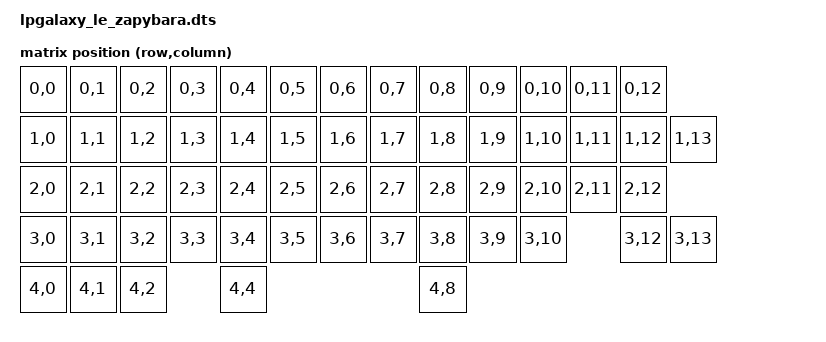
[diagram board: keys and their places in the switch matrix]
/*
 * Copyright (c) 2020 The ZMK Contributors
 *
 * SPDX-License-Identifier: MIT
 */

/dts-v1/;
#include <nordic/nrf52840_qiaa.dtsi>
#include <zephyr/dt-bindings/dt-util.h>
#include <zephyr/dt-bindings/adc/adc.h>
#include <zephyr/dt-bindings/gpio/nordic-nrf-gpio.h>
#include <dt-bindings/zmk/matrix_transform.h>
#include <freq.h>
#include <dt-bindings/gpio/gpio.h> // Required for GPIO flags
#include "lpgalaxy_le_zapybara-layout.dtsi"

&adc {
    status = "okay";

    #address-cells = <1>;
    #size-cells = <0>;

    channel@3 {
        reg = <3>;
        zephyr,gain = "ADC_GAIN_1_4";
        zephyr,reference = "ADC_REF_INTERNAL";
        zephyr,acquisition-time = <ADC_ACQ_TIME(ADC_ACQ_TIME_MICROSECONDS, 40)>;
        zephyr,resolution = <12>;
    };

    channel@1 {
        reg = <1>;
        zephyr,gain = "ADC_GAIN_1_4";
        zephyr,reference = "ADC_REF_INTERNAL";
        zephyr,acquisition-time = <ADC_ACQ_TIME(ADC_ACQ_TIME_MICROSECONDS, 3)>;
        zephyr,resolution = <12>;
    };
};

#define MUX(label)                              \
    label: label {                              \
    	compatible = "zmk,gpio-mux";            \
        gpio-controller;                        \
        #gpio-cells = <2>;                      \
    };

/* mux pin order */
#define EC_MATRIX(_name, _row0_mask, _row1_mask, _row2_mask, _row3_mask, _bottom_mask)   \
    _name: _name {                              \
        compatible = "zmk,kscan-ec-matrix";     \
        input-gpios                             \
	        = <&left_mux 0 0>                   \
	        , <&left_mux 3 0>                   \
	        , <&left_mux 1 0>                   \
	        , <&left_mux 2 0>                   \
	        , <&left_mux 5 0>                   \
            , <&left_mux 4 0>                   \
            , <&left_mux 7 0>                   \
            , <&left_mux 6 0>                   \
	        , <&right_mux 0 0>                  \
	        , <&right_mux 3 0>                  \
	        , <&right_mux 1 0>                  \
	        , <&right_mux 2 0>                  \
	        , <&right_mux 5 0>                  \
            , <&right_mux 7 0>                  \
            ;                                       \
        io-channels = <&adc 1>;                     \
        strobe-input-masks = <_row0_mask _row1_mask _row2_mask _row3_mask _bottom_mask>;           \
        matrix-relax-us = <3>;                      \
        matrix-warm-up-us = <500>;                  \
        adc-read-settle-us = <1>;                   \
        sleep-after-secs = <1000>;                  \
        active-polling-interval-ms = <2>;           \
        idle-polling-interval-ms = <3>;             \
        sleep-polling-interval-ms = <4>;            \
        dynamic-polling-interval;                   \
    };

/ {
    compatible = "nordic,nrf52840";

    chosen {
        zmk,kscan = &matrix;
        zephyr,code-partition = &code_partition;
        zephyr,sram = &sram0;
        zephyr,flash = &flash0;
	    zerhyr,console = &cdc_acm_uart;
	    zerhyr,shell-uart = &cdc_acm_uart;
        zmk,battery = &vbatt;
	    zmk,physical-layout = &layout_0;
    };

    vbatt: vbatt {
        compatible = "zmk,battery-voltage-divider";
        io-channels = <&adc 3>;
        output-ohms = <2000000>;
        full-ohms = <(2000000 + 806000)>;
    };

    /* motion sensor interrupt */
    motion_interrupt_pin: motion_interrupt {
        compatible = "gpio-keys";
        my_pin: my_pin {
            label = "Interrupt Pin";
            gpios = <&gpio1 40 (GPIO_ACTIVE_HIGH | GPIO_PULL_DOWN)>;
        };
    };

    transform: transform {
        compatible = "zmk,matrix-transform";
        rows = <5>;
        columns = <14>;

        map = <
        RC(0,0) RC(0,1) RC(0,2) RC(0,3) RC(0,4) RC(0,5) RC(0,6) RC(0,7) RC(0,8) RC(0,9) RC(0,10) RC(0,11) RC(0,12)
        RC(1,0) RC(1,1) RC(1,2) RC(1,3) RC(1,4) RC(1,5) RC(1,6) RC(1,7) RC(1,8) RC(1,9) RC(1,10) RC(1,11) RC(1,12) RC(1,13)
        RC(2,0) RC(2,1) RC(2,2) RC(2,3) RC(2,4) RC(2,5) RC(2,6) RC(2,7) RC(2,8) RC(2,9) RC(2,10) RC(2,11) RC(2,12)
        RC(3,0) RC(3,1) RC(3,2) RC(3,3) RC(3,4) RC(3,5) RC(3,6) RC(3,7) RC(3,8) RC(3,9) RC(3,10)          RC(3,12) RC(3,13)
        RC(4,0) RC(4,1) RC(4,2)         RC(4,4)                         RC(4,8)      
        >;
    };

    MUX(left_mux)
    MUX(right_mux)

    /* strobe-input-masks = <  
     *   0x00000001  // Mask column 0 in row 0,  Row 0 (s=0): Column 0 (i=0) is masked (bit 0 is set)
     *   0x00000004>;  // Mask column 2 in row 1,  Row 1 (s=1): Column 2 (i=2) is masked (bit 2 is set)
     */
    /* BIT(i) creates a bitmask with only the i-th bit enabled (e.g., BIT(0) = 0b0001, BIT(1) = 0b0010, BIT(2)=0b0100). */
    EC_MATRIX(matrix, (BIT(13)), 0, (BIT(13)), (BIT(11)), (BIT(3) + BIT(5) + BIT(6) + BIT(7) + BIT(9) + BIT(10) + BIT(11) + BIT(12) + BIT(13)))
};

/*
 * &pinctrl {
 *   spi1_default: spi1_default {
 *   };
 *
 *   spi1_sleep: spi1_sleep {
 *   };
 * };
 */

/* need to work on this wake up trigger */
// &spi1 {
//    status = "okay";
//    
//    pinctrl-0 = <&spi1_default>;
//    pinctrl-1 = <&spi1_sleep>;
//    pinctrl-names = "default", "sleep";
//
//    wakeup_trigger: wakeup_trigger@0 {
//        reg = <0>;
//
//        spi-max-frequency = <DT_FREQ_M(8)>;
//
//        compatible = "zmk,adxl362-awake-trigger";
//        wakeup-source;
//
//        linked-devices = <&matrix>;
//
//        wakeup_trigger_settings: normal {
//            activity-threshold = <18>;
//            activity-time = <0>;
//            inactivity-threshold = <60>;
//            inactivity-time = <100>;
//        };
//
//        wakeup_trigger_sleep_settings: sleep {
//            activity-threshold = <140>;
//            activity-time = <0>;
//            inactivity-threshold = <500>;
//            inactivity-time = <0>;
//        };
//    };
//};

&gpiote {
	status = "okay";
};

&gpio0 {
	status = "okay";
};

&gpio1 {
	status = "okay";
};

zephyr_udc0: &usbd {
	status = "okay";
        cdc_acm_uart: cdc_acm_uart {
                compatible = "zephyr,cdc-acm-uart";
        };
};

&flash0 {
	/*
	 * For more information, see:
	 * http://docs.zephyrproject.org/latest/devices/dts/flash_partitions.html
	 */
	partitions {
		compatible = "fixed-partitions";
		#address-cells = <1>;
		#size-cells = <1>;

		sd_partition: partition@0 {
			label = "mbr";
			reg = <0x00000000 0x00001000>;
		};
		code_partition: partition@1000 {
			label = "code_partition";
			reg = <0x00001000 0x000d3000>;
		};

		storage_partition: partition@d4000 {
			label = "storage";
			reg = <0x000d4000 0x00020000>;
		};

		boot_partition: partition@f4000 {
			label = "adafruit_boot";
			reg = <0x000f4000 0x0000c000>;
		};
	};
};
